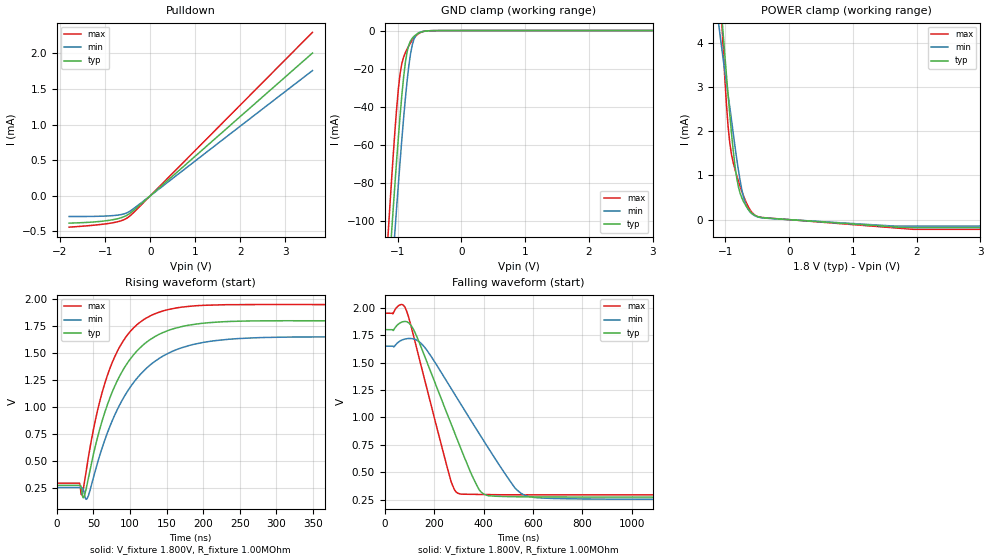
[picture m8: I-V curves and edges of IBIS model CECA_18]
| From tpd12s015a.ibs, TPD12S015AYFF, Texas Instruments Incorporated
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[Model]   CECA_18
Model_type   I/O_open_sink
Vinl = 800.000mV
Vinh = 2.000V
Vmeas = 1.500V
Cref = 15pF
Vref = 0V
Rref = 1000000
|   typ   min   max
|3-state
C_comp   1.1922pF   1.1689pF   1.2482pF
|pulldown
|C_comp   1.1922pF   1.1689pF   1.2481pF
[Voltage Range]   1.800V   1.650V   1.950V
|Junction temperature
[Temperature Range]   40.0   100.0   -40.0
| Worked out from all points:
|   slope of the pulldown table from 0 to 0.27 V, typ, clamps not added: 1.8 kohm
|   GND clamp passes 1 mA (typ) near -0.64 V on its own axis
|   POWER clamp passes 1 mA (typ) near -0.83 V on its own axis
|   falling waveform, V_fixture 1.800V, R_fixture 1.00MOhm: 20-80 % time 160ns typ, 234ns min, 113ns max; typ from 1.8 V to 0.274 V
|   rising waveform, V_fixture 1.800V, R_fixture 1.00MOhm: 20-80 % time 55.5ns typ, 66.4ns min, 45.9ns max; typ from 0.274 V to 1.8 V
|ambient temperature   25   85   -40|
[Pulldown]
|   Voltage   I(typ)   I(min)   I(max)
-1.8V     -382.5uA   -290uA     -439.1uA
-1.284V   -367.9uA   -288.3uA   -413.6uA
-904.5mV  -342.7uA   -280.5uA   -385.4uA
-633.2mV  -304.3uA   -260.8uA   -347.1uA
-470.4mV  -254uA     -222.9uA   -292.1uA
3.6V      2.002mA    1.756mA    2.293mA
[GND Clamp]
|   Voltage   I(typ)   I(min)   I(max)
-1.8V     -494.6mA   -503.4mA   -493.4mA
-1.149V   -134.2mA   -158mA     -107.5mA
-1.094V   -106.8mA   -131.2mA   -78.94mA
-1.04V    -80.42mA   -105.3mA   -52.46mA
-985.9mV  -55.68mA   -80.32mA   -30.36mA
-958.8mV  -44.25mA   -68.37mA   -22.43mA
-931.7mV  -33.73mA   -56.87mA   -17.18mA
-877.4mV  -16.86mA   -35.78mA   -11.65mA
-823.1mV  -7.647mA   -18.61mA   -8.038mA
-768.8mV  -4.04mA    -7.532mA   -5.134mA
-660.3mV  -1.221mA   -1.081mA   -1.428mA
3.6V      0A         0A         0A
[POWER Clamp]
|   Voltage   I(typ)   I(min)   I(max)
-1.8V     16.31mA    629.3uA    25.82mA
-1.637V   14.6mA     689.9uA    21.44mA
-1.61V    14.21mA    6.334mA    20.68mA
-1.094V   5.278mA    4.283mA    5.537mA
-1.04V    4.277mA    3.674mA    3.987mA
-958.8mV  2.821mA    2.825mA    2.114mA
-904.5mV  1.944mA    2.247mA    1.469mA
-823.1mV  944.1uA    1.373mA    995.8uA
-768.8mV  592.3uA    874.8uA    746.7uA
-687.4mV  333.7uA    370uA      432.5uA
-551.8mV  108.1uA    98.03uA    115.7uA
3.6V      -178.9uA   -145uA     -218.5uA
[Ramp]
R_load = 1.00MOhm
|   typ   min   max
dV/dt_r   915.721mV/55.535ns  837.785mV/66.415ns  993.306mV/45.899ns
dV/dt_f   915.721mV/160.192ns 837.785mV/233.633ns 993.306mV/112.781ns
[Falling Waveform]
V_fixture = 1.800V
V_fixture_min = 1.650V
V_fixture_max = 1.950V
R_fixture = 1.00MOhm
|   Time   V(typ)   V(min)   V(max)
0s        1.8V       1.65V      1.95V
66ns      1.866V     1.702V     2.029V
86ns      1.874V     1.717V     1.983V
158ns     1.578V     1.648V     1.373V
266ns     954.4mV    1.274V     432.5mV
296ns     783.9mV    1.164V     309.4mV
394ns     312.4mV    810.1mV    296.5mV
526ns     277.4mV    359.7mV    295mV
576ns     276mV      283.5mV    294.8mV
1.914us   273.8mV    253.7mV    294.5mV
[Rising Waveform]
V_fixture = 1.800V
V_fixture_min = 1.650V
V_fixture_max = 1.950V
R_fixture = 1.00MOhm
|   Time   V(typ)   V(min)   V(max)
0s        273.8mV    253.7mV    294.5mV
31ns      273.8mV    253.7mV    294.5mV
34ns      224mV      253.4mV    183mV
37ns      166.2mV    215.8mV    275.3mV
42ns      308.2mV    160.4mV    492mV
62ns      876mV      625.1mV    1.14V
94ns      1.384V     1.119V     1.647V
170ns     1.745V     1.549V     1.926V
319ns     1.8V       1.649V     1.95V
1.914us   1.8V       1.65V      1.95V
